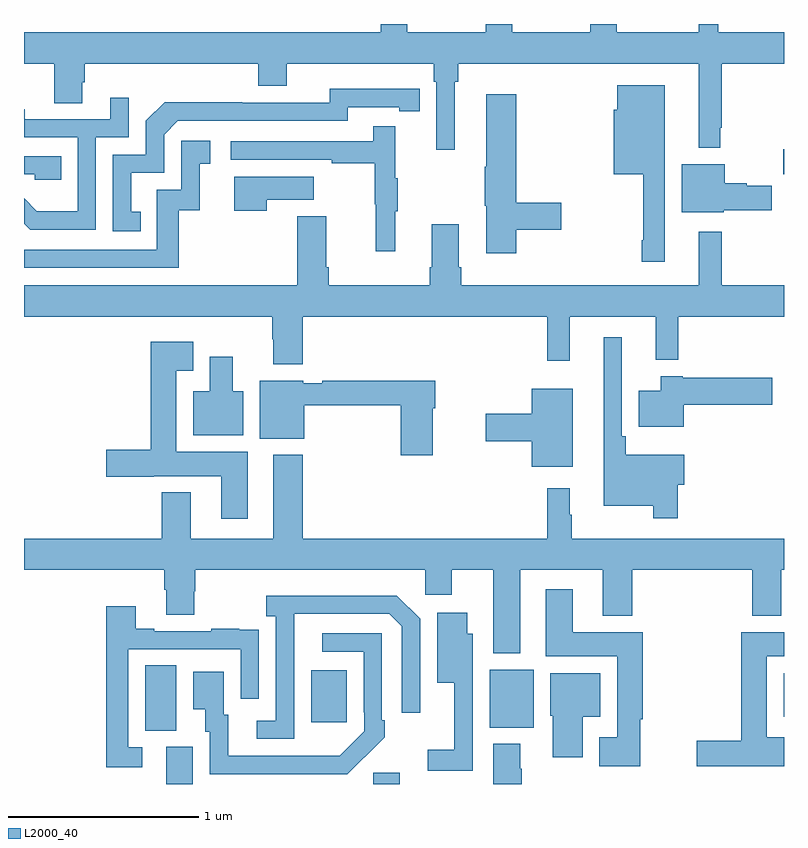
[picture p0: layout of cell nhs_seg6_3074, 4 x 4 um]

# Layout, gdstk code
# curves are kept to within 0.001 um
import gdstk
lib = gdstk.Library(unit=1e-6, precision=1e-09)
def R(c, l, rs):  # rectangles x0, y0, x1, y1
    for r in rs: c.add(gdstk.rectangle(r[:2], r[2:], *l))
def P(c, l, *ps):  # polygons
    for p in ps: c.add(gdstk.Polygon(p, *l))
L2000_40 = (2000, 40)

nhs_seg6_3074 = lib.new_cell('nhs_seg6_3074')
R(nhs_seg6_3074, L2000_40, [(291.749,987.5,291.889,987.696), (292.839,987.5,292.978,987.558), (291.638,987.781,291.802,988.124), (293.45,987.797,293.683,988.102), (292.511,987.825,292.699,988.099), (294.998,987.854,295,988.084), (294.996,990.71,295,990.84)])
P(nhs_seg6_3074, L2000_40, [(293.266,991.196),(293.285,991.196),(293.285,991.292),(294.551,991.292),(294.551,990.848),(294.665,990.848),(294.665,990.955),(294.673,990.955),(294.673,991.292),(295,991.292),(295,991.456),(294.655,991.456),(294.655,991.5),(294.551,991.5),(294.551,991.456),(294.121,991.456),(294.121,991.5),(293.981,991.5),(293.981,991.456),(293.569,991.456),(293.569,991.5),(293.429,991.5),(293.429,991.456),(293.017,991.456),(293.017,991.5),(292.877,991.5),(292.877,991.456),(291,991.456),(291,991.292),(291.16,991.292),(291.16,991.084),(291.307,991.084),(291.307,991.194),(291.32,991.194),(291.32,991.292),(292.232,991.292),(292.232,991.175),(292.384,991.175),(292.384,991.292),(293.156,991.292),(293.156,991.196),(293.169,991.196),(293.169,990.837),(293.266,990.837)],
  [(294.373,991.177),(294.122,991.177),(294.122,991.05),(294.104,991.05),(294.104,990.71),(294.259,990.71),(294.259,990.361),(294.252,990.361),(294.252,990.249),(294.373,990.249)],
  [(291.614,990.513),(291.565,990.513),(291.565,990.717),(291.738,990.717),(291.738,990.918),(291.81,990.99),(292.704,990.99),(292.704,991.062),(292.976,991.062),(292.976,991.042),(293.084,991.042),(293.084,991.158),(292.608,991.159),(292.608,991.086),(292.148,991.086),(292.148,991.088),(291.74,991.088),(291.642,990.99),(291.642,990.813),(291.468,990.813),(291.468,990.408),(291.614,990.408)],
  [(293.591,990.418),(293.827,990.418),(293.827,990.56),(293.591,990.56),(293.591,991.129),(293.432,991.129),(293.432,990.749),(293.425,990.749),(293.425,990.543),(293.432,990.543),(293.432,990.294),(293.591,990.294)],
  [(291.378,990.903),(291.552,990.903),(291.552,991.111),(291.455,991.111),(291.455,990.999),(291.004,990.999),(291.004,991.051),(291,991.051),(291,990.903),(291.282,990.903),(291.282,990.514),(291.068,990.514),(291,990.582),(291,990.449),(291.032,990.417),(291.378,990.417)],
  [(292.955,990.515),(292.966,990.515),(292.966,990.689),(292.955,990.689),(292.955,990.961),(292.837,990.961),(292.837,990.882),(292.089,990.882),(292.089,990.786),(292.621,990.786),(292.621,990.766),(292.845,990.766),(292.845,990.552),(292.852,990.552),(292.852,990.303),(292.955,990.303)],
  [(291.815,990.519),(291.926,990.519),(291.926,990.765),(291.979,990.765),(291.979,990.886),(291.828,990.886),(291.828,990.627),(291.699,990.627),(291.699,990.312),(291,990.312),(291,990.216),(291.815,990.216)],
  [(291.197,990.804),(291,990.804),(291,990.708),(291.057,990.708),(291.057,990.681),(291.197,990.681)],
  [(294.684,990.52),(294.936,990.52),(294.936,990.649),(294.804,990.649),(294.804,990.662),(294.688,990.662),(294.688,990.763),(294.461,990.763),(294.461,990.509),(294.684,990.509)],
  [(292.277,990.575),(292.525,990.575),(292.525,990.697),(292.106,990.697),(292.106,990.516),(292.277,990.516)],
  [(292.466,989.96),(293.755,989.96),(293.755,989.727),(293.873,989.727),(293.873,989.96),(294.326,989.96),(294.326,989.732),(294.443,989.732),(294.443,989.96),(295,989.96),(295,990.124),(294.673,990.124),(294.673,990.406),(294.551,990.406),(294.551,990.124),(293.3,990.124),(293.3,990.22),(293.287,990.22),(293.287,990.445),(293.147,990.445),(293.147,990.22),(293.135,990.22),(293.135,990.124),(292.604,990.124),(292.604,990.22),(292.591,990.22),(292.591,990.487),(292.439,990.487),(292.439,990.124),(291,990.124),(291,989.96),(292.306,989.96),(292.306,989.84),(292.313,989.84),(292.313,989.708),(292.466,989.708)],
  [(294.44,989.075),(294.475,989.075),(294.475,989.233),(294.167,989.233),(294.167,989.329),(294.147,989.329),(294.147,989.851),(294.05,989.851),(294.05,988.964),(294.312,988.964),(294.312,988.899),(294.44,988.899)],
  [(292.177,989.248),(291.802,989.248),(291.802,989.675),(291.892,989.675),(291.892,989.827),(291.668,989.827),(291.668,989.258),(291.432,989.258),(291.432,989.116),(291.684,989.116),(291.684,989.12),(292.037,989.12),(292.037,988.896),(292.177,988.896)],
  [(292.153,989.566),(292.099,989.566),(292.099,989.749),(291.977,989.749),(291.977,989.566),(291.89,989.566),(291.89,989.336),(292.153,989.336)],
  [(294.472,989.495),(294.937,989.495),(294.937,989.637),(294.468,989.637),(294.468,989.647),(294.35,989.647),(294.35,989.569),(294.236,989.569),(294.236,989.381),(294.472,989.381)],
  [(293.152,989.477),(293.165,989.477),(293.165,989.623),(292.57,989.623),(292.57,989.61),(292.47,989.61),(292.47,989.623),(292.241,989.623),(292.241,989.318),(292.474,989.318),(292.474,989.494),(292.982,989.494),(292.982,989.229),(293.152,989.229)],
  [(293.887,989.581),(293.672,989.581),(293.672,989.45),(293.43,989.45),(293.43,989.303),(293.672,989.303),(293.672,989.171),(293.887,989.171)],
  [(293.611,988.628),(294.047,988.628),(294.047,988.385),(294.2,988.385),(294.2,988.628),(294.833,988.628),(294.833,988.385),(294.985,988.385),(294.985,988.628),(295,988.628),(295,988.792),(293.884,988.792),(293.884,988.916),(293.872,988.916),(293.872,989.056),(293.755,989.056),(293.755,988.792),(292.466,988.792),(292.466,989.233),(292.313,989.233),(292.313,988.792),(291.877,988.792),(291.877,989.035),(291.725,989.035),(291.725,988.792),(291,988.792),(291,988.628),(291.737,988.628),(291.737,988.522),(291.749,988.522),(291.749,988.39),(291.897,988.39),(291.897,988.515),(291.902,988.515),(291.902,988.628),(293.112,988.628),(293.112,988.497),(293.251,988.497),(293.251,988.628),(293.471,988.628),(293.471,988.187),(293.611,988.187)],
  [(294.244,987.841),(294.257,987.841),(294.257,988.3),(293.887,988.3),(293.887,988.525),(293.747,988.525),(293.747,988.172),(294.122,988.172),(294.122,987.745),(294.027,987.745),(294.027,987.593),(294.244,987.593)],
  [(292.422,988.195),(292.423,988.395),(292.923,988.395),(292.989,988.329),(292.989,987.876),(293.085,987.876),(293.085,988.369),(292.962,988.492),(292.275,988.492),(292.275,988.382),(292.326,988.382),(292.326,987.834),(292.224,987.834),(292.224,987.738),(292.422,987.738)],
  [(291.622,987.693),(291.549,987.693),(291.549,988.209),(292.14,988.209),(292.14,987.948),(292.236,987.948),(292.236,988.202),(292.235,988.202),(292.235,988.311),(292.133,988.311),(292.133,988.318),(291.985,988.318),(291.985,988.305),(291.685,988.305),(291.685,988.318),(291.589,988.318),(291.589,988.435),(291.433,988.435),(291.433,987.588),(291.622,987.588)],
  [(293.361,988.291),(293.332,988.291),(293.332,988.402),(293.174,988.402),(293.174,988.034),(293.264,988.034),(293.264,987.679),(293.124,987.679),(293.124,987.57),(293.361,987.57)],
  [(295,987.745),(294.91,987.745),(294.91,988.172),(295,988.172),(295,988.3),(294.776,988.3),(294.776,987.728),(294.54,987.728),(294.54,987.593),(295,987.593)],
  [(292.793,987.643),(292.794,987.642),(292.899,987.747),(292.899,987.835),(292.884,987.835),(292.884,988.293),(292.569,988.293),(292.569,988.197),(292.788,988.197),(292.788,987.877),(292.791,987.877),(292.791,987.777),(292.663,987.649),(292.075,987.648),(292.075,987.864),(292.051,987.864),(292.051,988.09),(291.89,988.09),(291.89,987.893),(291.953,987.893),(291.953,987.774),(291.978,987.774),(291.978,987.552),(292.702,987.552)],
  [(293.941,987.854),(294.034,987.854),(294.034,988.084),(293.771,988.084),(293.771,987.858),(293.783,987.858),(293.783,987.642),(293.941,987.642)],
  [(293.619,987.581),(293.611,987.581),(293.611,987.712),(293.471,987.712),(293.471,987.5),(293.619,987.5)])

lib.write_gds('nhs_seg6_3074.gds')
